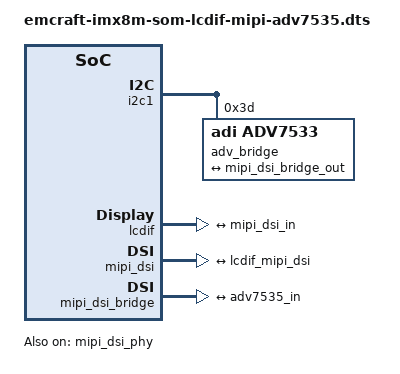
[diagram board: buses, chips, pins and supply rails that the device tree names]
/*
 * Copyright 2018 Emcraft Systems
 *
 * This program is free software; you can redistribute it and/or
 * modify it under the terms of the GNU General Public License
 * as published by the Free Software Foundation; either version 2
 * of the License, or (at your option) any later version.
 *
 * This program is distributed in the hope that it will be useful,
 * but WITHOUT ANY WARRANTY; without even the implied warranty of
 * MERCHANTABILITY or FITNESS FOR A PARTICULAR PURPOSE.  See the
 * GNU General Public License for more details.
 */

#include "emcraft-imx8m-som.dts"

/ {
	display-subsystem {
		status = "disabled";
	};

	sound-hdmi {
		status = "disabled";
	};
};

&irqsteer_dcss {
	status = "disabled";
};

&iomuxc {
	pinctrl-names = "default";

	imx8m-som {
		pinctrl_dsi: dsigrp {
			fsl,pins = <
				MX8MQ_IOMUXC_NAND_DATA07_GPIO3_IO13	0x16
			>;
		};
	};
};

&i2c1 {
	adv_bridge: adv7535@3d {
               compatible = "adi,adv7533";
               reg = <0x3d>;
               adi,dsi-lanes = <4>;
               status = "okay";
               port {
                       adv7535_in: endpoint {
                               remote-endpoint = <&mipi_dsi_bridge_out>;
                       };
               };
    };
    
    ov5640_mipi: ov5640_mipi@3c {
               status = "disabled";
    };
    
    ov5640_mipi2: ov5640_mipi2@3c {
               status = "disabled";
    };
};

&dcss {
	status = "disabled";
};

&hdmi {
	status = "disabled";
};

&lcdif {
	status = "okay";
	max-res = <1920>, <1080>;

	port@0 {
		lcdif_mipi_dsi: mipi-dsi-endpoint {
			remote-endpoint = <&mipi_dsi_in>;
		};
	};
};

&mipi_dsi_phy {
	status = "okay";
};

&mipi_dsi {
	status = "okay";
	as_bridge;
	sync-pol = <1>;
	pwr-delay = <10>;

	port@1 {
		mipi_dsi_in: endpoint {
			remote-endpoint = <&lcdif_mipi_dsi>;
		};
	};
};

&mipi_dsi_bridge {
	status = "okay";
	port@1 {
		mipi_dsi_bridge_out: endpoint {
			remote-endpoint = <&adv7535_in>;
		};
	};
};
